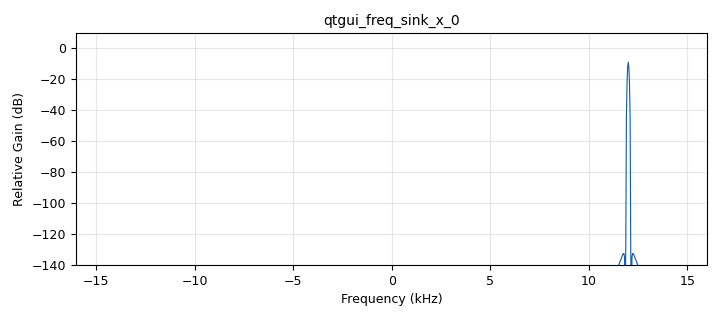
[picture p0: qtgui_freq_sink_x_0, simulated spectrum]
options:
  parameters:
    generate_options: qt_gui
    id: deneme
    output_language: python
    title: deneme_title
  states: {}

blocks:
- name: samp_rate
  id: variable
  parameters:
    value: '32000'
  states: {}
- name: analog_sig_source_x_0
  id: analog_sig_source_x
  parameters:
    amp: '1'
    freq: '2000'
    offset: '0'
    phase: '0'
    samp_rate: samp_rate
    type: complex
    waveform: analog.GR_COS_WAVE
  states: {}
- name: analog_sig_source_x_0_0
  id: analog_sig_source_x
  parameters:
    amp: '1'
    freq: '10000'
    offset: '0'
    phase: '0'
    samp_rate: samp_rate
    type: complex
    waveform: analog.GR_COS_WAVE
  states: {}
- name: blocks_multiply_xx_0
  id: blocks_multiply_xx
  parameters:
    type: complex
  states: {}
- name: blocks_throttle2_0
  id: blocks_throttle2
  parameters:
    samples_per_second: samp_rate
    type: complex
  states: {}
- name: qtgui_freq_sink_x_0
  id: qtgui_freq_sink_x
  parameters:
    bw: samp_rate
    fc: '0'
    fftsize: '1024'
    type: complex
  states: {}

connections:
- [analog_sig_source_x_0, '0', blocks_throttle2_0, '0']
- [analog_sig_source_x_0_0, '0', blocks_multiply_xx_0, '1']
- [blocks_multiply_xx_0, '0', qtgui_freq_sink_x_0, '0']
- [blocks_throttle2_0, '0', blocks_multiply_xx_0, '0']

metadata:
  file_format: 1
  grc_version: 3.10.12.0
